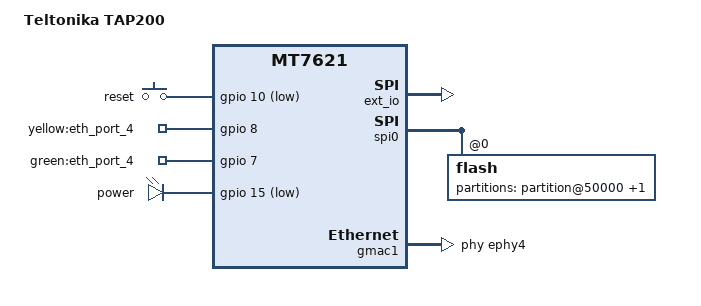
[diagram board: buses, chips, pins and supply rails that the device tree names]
#include "mt7621-teltonika-common.dtsi"
#include "mt7621-teltonika-tap200-flash.dtsi"

/ {
	compatible = "teltonika,tap200", "mediatek,mt7621-soc";
	model = "Teltonika TAP200";

	chosen {
		bootargs = "console=ttyS0,115200 rootfstype=squashfs,jffs2 root=/dev/mtdblock6";
	};

	ext_io {
		compatible = "spi-gpio";
		#address-cells = <1>;
		#size-cells = <0>;
	};

	keys {
		compatible = "gpio-keys";

		reset {
			label = "reset";
			gpios = <&gpio 10 GPIO_ACTIVE_LOW>;
			linux,code = <KEY_RESTART>;
		};
	};

	gpio-export {
		compatible = "gpio-export";
		#size-cells = <0>;

		yellow_eth_port_4 {
			gpio-export,name = "yellow:eth_port_4";
			gpio-export,output = <0>;
			gpios = <&gpio 8 GPIO_ACTIVE_HIGH>;
		};

		green_eth_port_4 {
			gpio-export,name = "green:eth_port_4";
			gpio-export,output = <0>;
			gpios = <&gpio 7 GPIO_ACTIVE_HIGH>;
		};
	};

	leds {
		compatible = "gpio-leds";

		power_led {
			label = "power";
			linux,default-trigger = "timer";
			gpios = <&gpio 15 GPIO_ACTIVE_LOW>;
		};

	};

	tlt_gpios { // Modify according to wiki page "DTS syntax with Libgpiod changes"
		gpiochip_info {
			hw_0 {
				hwver = <0>;
				gpiochip_count = <3>;

				gpiochip_0 = <32>; // Built-in
				gpiochip_1 = <32>; // Built-in
				gpiochip_2 = <32>; // Built-in
			};
		};

		ledman {
			GPIO_7 {
				line_name = "LED_ETH_GREEN_1";
			};
			GPIO_8 {
				line_name = "LED_ETH_YELLOW_1";
			};
			GPIO_15 {
				line_name = "LED_POWER";
				active_low;
			};
		};
	};
};

&mnfinfo {
	blver {
		reg = <&boot 0x40000 0xa>;
	};
};

&spi0 {
	flash@0 {
		partitions {
			partition@50000 {
				read-only;
			};

			partition@60000 {
				read-only;
			};
		};
	};
};

&state_default {
	gpio {
		groups = "wdt", "jtag", "sdhci", "uart2", "uart3";
		function = "gpio";
	};
};

&gmac1 {
	status = "okay";
	label = "eth1";
	phy-handle = <&ephy4>;
	mtd-mac-address = <&config 0x0>;
	mtd-mac-address-increment = <1>;
};

&mnfinfo {
	/delete-node/ simpin1;
	/delete-node/ simpin2;

	sim_count {
		default =  "0";
	};
};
